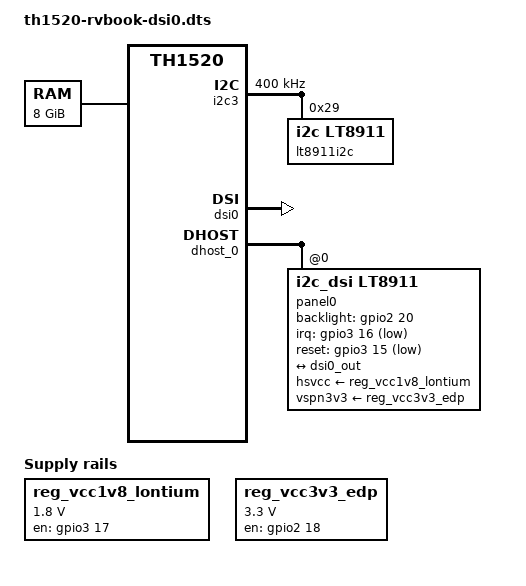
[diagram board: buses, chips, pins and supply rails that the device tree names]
/* SPDX-License-Identifier: GPL-2.0 */
/*
 * Copyright (C) 2022-2023 Alibaba Group Holding Limited.
 */

#include "th1520-rvbook.dtsi"

/ {
	memory@0 {
		device_type = "memory";
		reg = <0x0 0x200000 0x1 0xffe00000>;
	};

	reg_vcc1v8_lontium: regulator-vcc1v8-lontium {
		compatible = "regulator-fixed";
		enable-active-high;
		regulator-min-microvolt = <1800000>;
		regulator-max-microvolt = <1800000>;
		gpio = <&gpio3 17 GPIO_ACTIVE_HIGH>;
		regulator-name = "vcc1v8-lontium";
	};

	reg_vcc3v3_edp: regulator-vcc3v3-edp {
		compatible = "regulator-fixed";
		enable-active-high;
		regulator-min-microvolt = <3300000>;
		regulator-max-microvolt = <3300000>;
		gpio = <&gpio2 18 GPIO_ACTIVE_HIGH>;
		regulator-name = "vcc3v3-edp";
	};
};

&cmamem {
	size = <0 0x20000000>; // 512MB on lpi4a (SOM)
	alloc-ranges = <0 0xd8000000 0 0x20000000>; // [0x0D800_0000 ~ 0x0F800_0000]
};

&i2c3 {
	clock-frequency = <400000>;
	status = "okay";
	pinctrl-names = "default";
	pinctrl-0 = <&i2c3_pins>;

	lt8911i2c: lt8911i2c@29{
		compatible = "i2c,lt8911";
		reg = <0x29>;
	};
};

&dsi0 {
    status = "okay";
};

&dhost_0 {
	panel0@0 {
		compatible = "i2c_dsi,lt8911";
		reg = <0>;
		lt8911,backlight-gpio = <&gpio2 20 GPIO_ACTIVE_HIGH>;
		lt8911,irq-gpio = <&gpio3 16 GPIO_ACTIVE_LOW>;
		lt8911,reset-gpio = <&gpio3 15 GPIO_ACTIVE_LOW>;
		lt8911,rst-delay-ms = <10>;
		lt8911,edp-lane-cnt = <2>;
		lt8911,mipi-lane-cnt = <4>;
		lt8911,edp-depth = <8>; /* 6 or 8 */
		pinctrl-names = "default";
		pinctrl-0 = <&lt8911exb_pins>;
		hsvcc-supply = <&reg_vcc1v8_lontium>;
		vspn3v3-supply = <&reg_vcc3v3_edp>;

		port {
			panel0_in: endpoint {
				remote-endpoint = <&dsi0_out>;
			};
		};
	};
};

